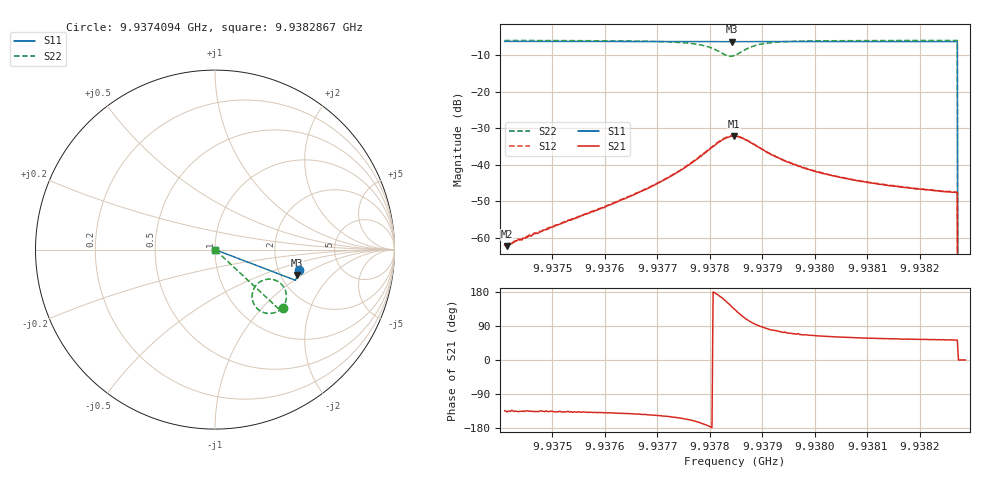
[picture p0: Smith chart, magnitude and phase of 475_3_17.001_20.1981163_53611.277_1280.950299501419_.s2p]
#  HZ  S  RI  R  50.00
! Rohde & Schwarz Vector Network Analyzer
! Rohde-Schwarz,ZNB20-2Port,1311601062101988,3.16
! Created: UTC 3/20/2024, 11:13:21 PM
! freq[Hz]  re:S11  im:S11  re:S21  im:S21  re:S12  im:S12  re:S22  im:S22
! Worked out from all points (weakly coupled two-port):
!   401 points, 9.9374094 GHz to 9.9382867 GHz, reference 50 ohm
!   highest |S21| = -32.17 dB at 9.9378458 GHz (marker M1); lowest = -62.2 dB at 9.9374138 GHz (marker M2)
!   lowest |S11| = -6.4 dB at 9.9378414 GHz (marker M3), VSWR 2.83, Z = 122 - j45.2 ohm
!   |S11| at or under -10 dB: 9.9382714 GHz to end of sweep
!   |S22| runs from - to -6.1 dB; largest |S21 - S12| = 0.001
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9.93740937e9  0.4691 -0.1156  -0.000555 -0.000576  -0.000562 -0.00054  0.377 -0.3241
9.93741376e9  0.4689 -0.1161  -0.000568 -0.000526  -0.000579 -0.000582  0.3767 -0.3244
9.93755632e9  0.4658 -0.1255  -0.00151 -0.00137  -0.00153 -0.00134  0.3616 -0.3365
9.93763966e9  0.4639 -0.1312  -0.00271 -0.00217  -0.00279 -0.00216  0.3467 -0.3454
9.93770327e9  0.4622 -0.1354  -0.00477 -0.00312  -0.0049 -0.00307  0.3259 -0.3528
9.93775152e9  0.4607 -0.1389  -0.00819 -0.00378  -0.00841 -0.00372  0.2955 -0.3555
9.937791e9  0.459 -0.1414  -0.0143 -0.00236  -0.0147 -0.00231  0.2471 -0.3383
9.9378217e9  0.4571 -0.1426  -0.0207 0.00529  -0.0211 0.00604  0.2069 -0.2677
9.93783267e9  0.4567 -0.1426  -0.0209 0.0106  -0.021 0.0115  0.2133 -0.2244
9.93784144e9  0.4566 -0.1426  -0.0192 0.0153  -0.019 0.0162  0.2346 -0.1928
9.93784583e9  0.4568 -0.1425  -0.0176 0.0173  -0.0173 0.0181  0.2496 -0.1802
9.93784802e9  0.4568 -0.1427  -0.0167 0.0181  -0.0163 0.0188  0.258 -0.1753
9.93785899e9  0.457 -0.1429  -0.0114 0.0206  -0.011 0.0211  0.3019 -0.1645
9.93787434e9  0.4573 -0.1439  -0.00495 0.0203  -0.00432 0.0205  0.3517 -0.1781
9.93790066e9  0.4577 -0.1459  0.000951 0.0161  0.00136 0.0162  0.3894 -0.2208
9.93794233e9  0.457 -0.149  0.00305 0.0108  0.00379 0.0108  0.398 -0.2662
9.93799497e9  0.4557 -0.1528  0.00353 0.00756  0.00373 0.00759  0.3922 -0.2945
9.93806954e9  0.4538 -0.1579  0.0032 0.00541  0.00335 0.00537  0.3828 -0.3143
9.93814192e9  0.4519 -0.1626  0.00288 0.00428  0.00302 0.00431  0.3752 -0.3256
9.93826693e9  0.4484 -0.1707  0.00254 0.00336  0.00263 0.00335  0.3645 -0.3385
9.9382779e9  0 0  0 0  0 0  0 0
9.93828667e9  0 0  0 0  0 0  0 0
